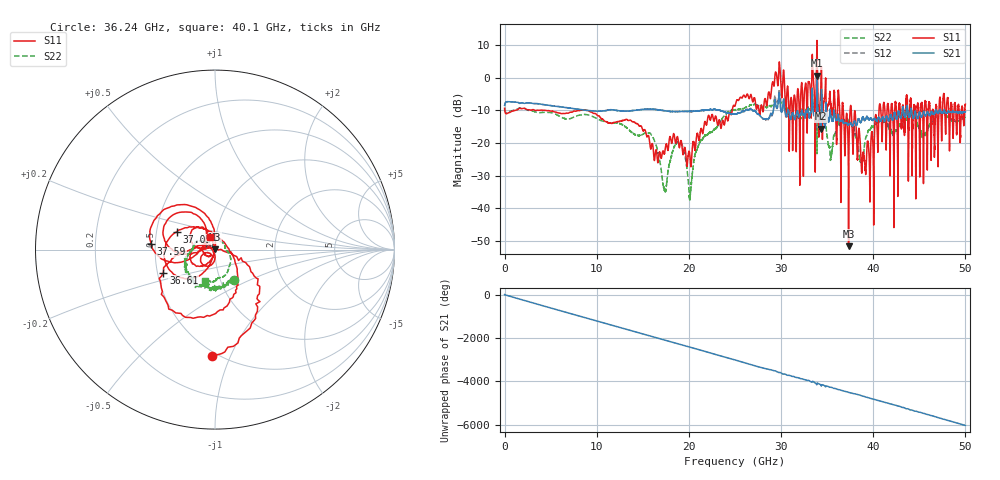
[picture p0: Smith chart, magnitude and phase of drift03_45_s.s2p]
!Created with skrf (http://scikit-rf.org).
# Hz S RI R 50.0
!freq ReS11 ImS11 ReS21 ImS21 ReS12 ImS12 ReS22 ImS22
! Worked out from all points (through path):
!   10001 points, 300 kHz to 50 GHz, reference 50 ohm
!   highest |S21| = 0.67 dB at 33.9 GHz (marker M1); lowest = -15.6 dB at 34.32 GHz (marker M2)
!   group delay of S21, straight-line fit = 335 ps
!   lowest |S11| = -51.6 dB at 37.33 GHz (marker M3), VSWR 1.01, Z = 49.9 + j0.234 ohm
!   |S11| at or under -10 dB: 4.476 GHz to 8.191 GHz (3.716 GHz wide, 58.7 % of centre); 9.018 GHz to 24.7 GHz (15.68 GHz wide, 93 % of centre); 37.62 GHz to 40.62 GHz (3.003 GHz wide, 7.68 % of centre) (the widest 3 of 60)
!   |S22| runs from -37.4 to -5.9 dB; largest |S21 - S12| = 0.11
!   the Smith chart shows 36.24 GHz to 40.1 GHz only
!   S11 on the Smith chart (normalised r, x): 36.24 GHz: 0.47, -0.86; 36.61 GHz: 0.54, -0.15; 37.05 GHz: 0.64, +0.14; 37.59 GHz: 0.47, +0.03; 40.1 GHz: 0.94, +0.13
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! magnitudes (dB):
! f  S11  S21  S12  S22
! 300 kHz  -9.3  -8.4  -8.5  -9.3
! 8.335 GHz  -9.9  -9.8  -9.8  -11.3
! 16.67 GHz  -25.5  -9.8  -9.8  -23.2
! 17.39 GHz  -22.7  -10.1  -10.1  -34.6
! 19.07 GHz  -19.9  -10.3  -10.3  -20.0
! 20.13 GHz  -24.6  -10.3  -10.3  -36.5
! 21.19 GHz  -17.7  -10.1  -10.1  -19.5
! 25 GHz  -8.6  -11.1  -11.1  -9.8
! 31.08 GHz  -6.2  -12.7  -12.7  -10.5
! 33.34 GHz  0.4  -7.4  -7.5  -9.4
! 33.9 GHz  11.4  0.7  0.2  -23.3
! 34.32 GHz  -2.9  -15.6  -14.9  -11.2
! 35.35 GHz  -7.0  -10.6  -10.1  -24.2
! 36.24 GHz  -4.5  -11.8  -11.7  -14.1
! 36.61 GHz  -10.0  -13.1  -13.0  -13.6
! 37.05 GHz  -12.6  -13.8  -14.0  -13.7
! 37.33 GHz  -51.6  -14.3  -14.5  -13.6
! 37.59 GHz  -8.9  -13.9  -13.9  -14.1
! 38.71 GHz  -26.9  -13.4  -13.3  -25.3
! 40.1 GHz  -22.5  -12.5  -12.6  -14.9
! 41.67 GHz  -9.6  -13.3  -13.2  -14.9
! 50 GHz  -8.1  -10.5  -10.5  -12.2
